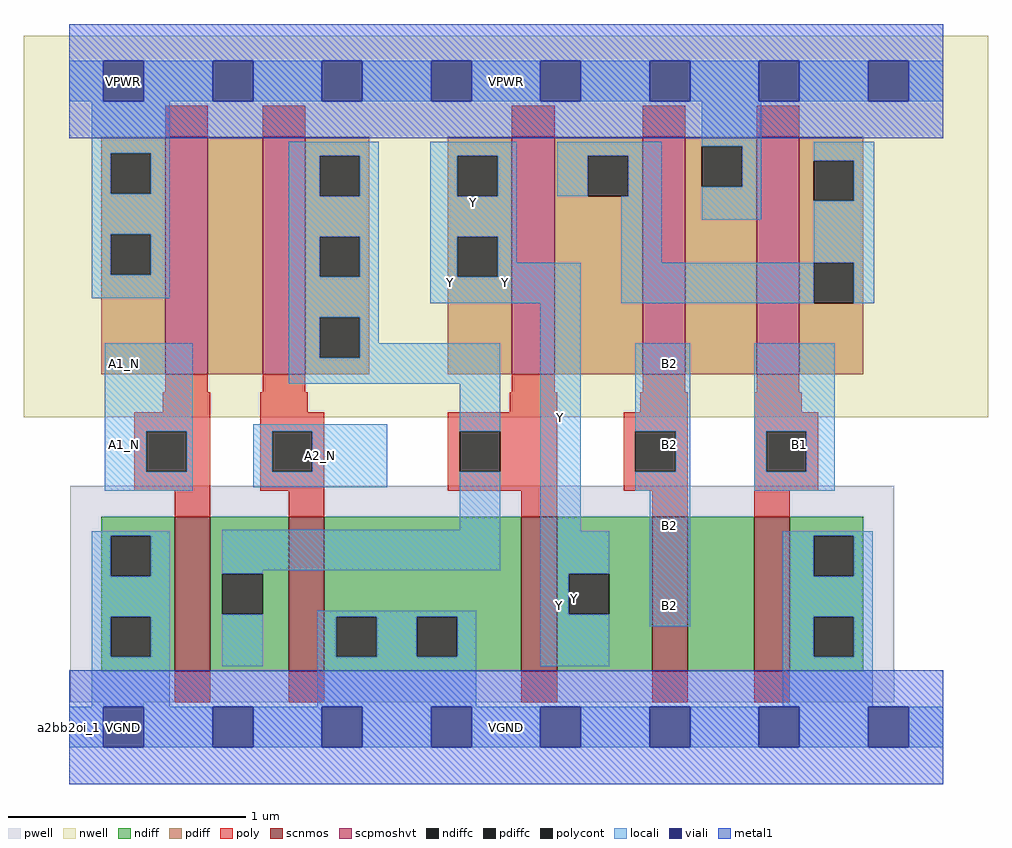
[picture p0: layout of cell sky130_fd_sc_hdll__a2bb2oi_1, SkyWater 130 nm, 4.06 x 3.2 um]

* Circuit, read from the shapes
.subckt sky130_fd_sc_hdll__a2bb2oi_1 A1_N A2_N B1 B2 VGND VNB VPB VPWR Y
XM1 n1 A1_N VGND VNB sky130_fd_pr__nfet_01v8 w=0.65 l=0.15
XM2 VGND A2_N n1 VNB sky130_fd_pr__nfet_01v8 w=0.65 l=0.15
XM3 Y n1 VGND VNB sky130_fd_pr__nfet_01v8 w=0.65 l=0.15
XM4 n2 B2 Y VNB sky130_fd_pr__nfet_01v8 w=0.65 l=0.15
XM5 VGND B1 n2 VNB sky130_fd_pr__nfet_01v8 w=0.65 l=0.15
XM6 n3 A1_N VPWR VPB sky130_fd_pr__pfet_01v8_hvt w=1 l=0.18
XM7 n1 A2_N n3 VPB sky130_fd_pr__pfet_01v8_hvt w=1 l=0.18
XM8 n4 n1 Y VPB sky130_fd_pr__pfet_01v8_hvt w=1 l=0.18
XM9 VPWR B2 n4 VPB sky130_fd_pr__pfet_01v8_hvt w=1 l=0.18
XM10 n4 B1 VPWR VPB sky130_fd_pr__pfet_01v8_hvt w=1 l=0.18
.ends

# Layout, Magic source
magic
tech sky130A
magscale 1 2
<< nwell >>
rect -38 261 774 582
<< pwell >>
rect 1 21 695 203
rect 29 -17 63 21
<< scnmos >>
rect 89 47 119 177
rect 185 47 215 177
rect 381 47 411 177
rect 491 47 521 177
rect 577 47 607 177
<< scpmoshvt >>
rect 81 297 117 497
rect 163 297 199 497
rect 373 297 409 497
rect 483 297 519 497
rect 579 297 615 497
<< ndiff >>
rect 27 161 89 177
rect 27 127 35 161
rect 69 127 89 161
rect 27 93 89 127
rect 27 59 35 93
rect 69 59 89 93
rect 27 47 89 59
rect 119 129 185 177
rect 119 95 129 129
rect 163 95 185 129
rect 119 47 185 95
rect 215 93 381 177
rect 215 59 225 93
rect 259 59 293 93
rect 327 59 381 93
rect 215 47 381 59
rect 411 129 491 177
rect 411 95 421 129
rect 455 95 491 129
rect 411 47 491 95
rect 521 47 577 177
rect 607 161 669 177
rect 607 127 627 161
rect 661 127 669 161
rect 607 93 669 127
rect 607 59 627 93
rect 661 59 669 93
rect 607 47 669 59
<< pdiff >>
rect 27 483 81 497
rect 27 449 35 483
rect 69 449 81 483
rect 27 415 81 449
rect 27 381 35 415
rect 69 381 81 415
rect 27 297 81 381
rect 117 297 163 497
rect 199 481 253 497
rect 199 447 211 481
rect 245 447 253 481
rect 199 413 253 447
rect 199 379 211 413
rect 245 379 253 413
rect 199 345 253 379
rect 199 311 211 345
rect 245 311 253 345
rect 199 297 253 311
rect 319 481 373 497
rect 319 447 327 481
rect 361 447 373 481
rect 319 413 373 447
rect 319 379 327 413
rect 361 379 373 413
rect 319 297 373 379
rect 409 481 483 497
rect 409 447 437 481
rect 471 447 483 481
rect 409 297 483 447
rect 519 489 579 497
rect 519 455 533 489
rect 567 455 579 489
rect 519 297 579 455
rect 615 477 669 497
rect 615 443 627 477
rect 661 443 669 477
rect 615 391 669 443
rect 615 357 627 391
rect 661 357 669 391
rect 615 297 669 357
<< ndiffc >>
rect 35 127 69 161
rect 35 59 69 93
rect 129 95 163 129
rect 225 59 259 93
rect 293 59 327 93
rect 421 95 455 129
rect 627 127 661 161
rect 627 59 661 93
<< pdiffc >>
rect 35 449 69 483
rect 35 381 69 415
rect 211 447 245 481
rect 211 379 245 413
rect 211 311 245 345
rect 327 447 361 481
rect 327 379 361 413
rect 437 447 471 481
rect 533 455 567 489
rect 627 443 661 477
rect 627 357 661 391
<< poly >>
rect 81 497 117 523
rect 163 497 199 523
rect 373 497 409 523
rect 483 497 519 523
rect 579 497 615 523
rect 81 282 117 297
rect 163 282 199 297
rect 373 282 409 297
rect 483 282 519 297
rect 579 282 615 297
rect 79 265 119 282
rect 55 249 119 265
rect 55 215 65 249
rect 99 215 119 249
rect 55 199 119 215
rect 161 265 201 282
rect 371 265 411 282
rect 481 265 521 282
rect 161 249 215 265
rect 161 215 171 249
rect 205 215 215 249
rect 161 199 215 215
rect 319 249 411 265
rect 319 215 329 249
rect 363 215 411 249
rect 319 199 411 215
rect 467 249 521 265
rect 467 215 477 249
rect 511 215 521 249
rect 467 199 521 215
rect 89 177 119 199
rect 185 177 215 199
rect 381 177 411 199
rect 491 177 521 199
rect 577 265 617 282
rect 577 249 631 265
rect 577 215 587 249
rect 621 215 631 249
rect 577 199 631 215
rect 577 177 607 199
rect 89 21 119 47
rect 185 21 215 47
rect 381 21 411 47
rect 491 21 521 47
rect 577 21 607 47
<< polycont >>
rect 65 215 99 249
rect 171 215 205 249
rect 329 215 363 249
rect 477 215 511 249
rect 587 215 621 249
<< locali >>
rect 0 527 29 561
rect 63 527 121 561
rect 155 527 213 561
rect 247 527 305 561
rect 339 527 397 561
rect 431 527 489 561
rect 523 527 581 561
rect 615 527 673 561
rect 707 527 736 561
rect 19 483 85 527
rect 19 449 35 483
rect 69 449 85 483
rect 19 415 85 449
rect 19 381 35 415
rect 69 381 85 415
rect 19 361 85 381
rect 185 481 261 493
rect 185 447 211 481
rect 245 447 261 481
rect 185 413 261 447
rect 185 379 211 413
rect 245 379 261 413
rect 185 345 261 379
rect 304 481 377 493
rect 304 447 327 481
rect 361 447 377 481
rect 411 481 499 493
rect 411 447 437 481
rect 471 447 499 481
rect 304 413 377 447
rect 304 379 327 413
rect 361 391 377 413
rect 465 391 499 447
rect 533 489 583 527
rect 567 455 583 489
rect 533 427 583 455
rect 627 477 678 493
rect 661 443 678 477
rect 627 391 678 443
rect 361 379 431 391
rect 304 357 431 379
rect 465 357 627 391
rect 661 357 678 391
rect 30 249 104 323
rect 185 311 211 345
rect 245 323 261 345
rect 245 311 363 323
rect 185 289 363 311
rect 30 215 65 249
rect 99 215 104 249
rect 30 199 104 215
rect 155 249 268 255
rect 155 215 171 249
rect 205 215 268 249
rect 155 202 268 215
rect 329 249 363 289
rect 329 166 363 215
rect 19 161 85 165
rect 19 127 35 161
rect 69 127 85 161
rect 19 93 85 127
rect 19 59 35 93
rect 69 59 85 93
rect 19 17 85 59
rect 129 132 363 166
rect 397 165 431 357
rect 477 249 523 323
rect 511 215 523 249
rect 477 199 523 215
rect 577 249 645 323
rect 577 215 587 249
rect 621 215 645 249
rect 577 199 645 215
rect 129 129 163 132
rect 397 129 455 165
rect 129 51 163 95
rect 209 93 343 98
rect 209 59 225 93
rect 259 59 293 93
rect 327 59 343 93
rect 209 17 343 59
rect 397 95 421 129
rect 397 51 455 95
rect 489 85 523 199
rect 601 161 677 165
rect 601 127 627 161
rect 661 127 677 161
rect 601 93 677 127
rect 601 59 627 93
rect 661 59 677 93
rect 601 17 677 59
rect 0 -17 29 17
rect 63 -17 121 17
rect 155 -17 213 17
rect 247 -17 305 17
rect 339 -17 397 17
rect 431 -17 489 17
rect 523 -17 581 17
rect 615 -17 673 17
rect 707 -17 736 17
<< viali >>
rect 29 527 63 561
rect 121 527 155 561
rect 213 527 247 561
rect 305 527 339 561
rect 397 527 431 561
rect 489 527 523 561
rect 581 527 615 561
rect 673 527 707 561
rect 29 -17 63 17
rect 121 -17 155 17
rect 213 -17 247 17
rect 305 -17 339 17
rect 397 -17 431 17
rect 489 -17 523 17
rect 581 -17 615 17
rect 673 -17 707 17
<< metal1 >>
rect 0 561 736 592
rect 0 527 29 561
rect 63 527 121 561
rect 155 527 213 561
rect 247 527 305 561
rect 339 527 397 561
rect 431 527 489 561
rect 523 527 581 561
rect 615 527 673 561
rect 707 527 736 561
rect 0 496 736 527
rect 0 17 736 48
rect 0 -17 29 17
rect 63 -17 121 17
rect 155 -17 213 17
rect 247 -17 305 17
rect 339 -17 397 17
rect 431 -17 489 17
rect 523 -17 581 17
rect 615 -17 673 17
rect 707 -17 736 17
rect 0 -48 736 -17
<< labels >>
flabel locali s 30 289 64 323 0 FreeSans 200 0 0 0 A1_N
port 1 nsew signal input
flabel locali s 30 221 64 255 0 FreeSans 200 0 0 0 A1_N
port 1 nsew signal input
flabel locali s 397 165 431 357 0 FreeSans 200 0 0 0 Y
port 9 nsew signal output
flabel locali s 321 374 321 374 0 FreeSans 200 0 0 0 Y
port 9 nsew
flabel locali s 413 102 413 102 0 FreeSans 200 0 0 0 Y
port 9 nsew
flabel locali s 29 -17 63 17 0 FreeSans 200 0 0 0 VGND
port 5 nsew ground bidirectional
flabel locali s 29 527 63 561 0 FreeSans 200 0 0 0 VPWR
port 8 nsew power bidirectional
flabel locali s 489 85 523 119 0 FreeSans 200 0 0 0 B2
port 4 nsew signal input
flabel locali s 489 153 523 187 0 FreeSans 200 0 0 0 B2
port 4 nsew signal input
flabel locali s 489 221 523 255 0 FreeSans 200 0 0 0 B2
port 4 nsew signal input
flabel locali s 489 289 523 323 0 FreeSans 200 0 0 0 B2
port 4 nsew signal input
flabel locali s 598 221 632 255 0 FreeSans 200 0 0 0 B1
port 3 nsew signal input
flabel locali s 155 202 268 255 0 FreeSans 200 0 0 0 A2_N
port 2 nsew signal input
flabel nwell s 29 527 63 561 0 FreeSans 200 0 0 0 VPB
port 7 nsew power bidirectional
flabel pwell s 29 -17 63 17 0 FreeSans 200 0 0 0 VNB
port 6 nsew ground bidirectional
flabel metal1 s 29 -17 63 17 0 FreeSans 200 0 0 0 VGND
port 5 nsew ground bidirectional
flabel metal1 s 29 527 63 561 0 FreeSans 200 0 0 0 VPWR
port 8 nsew power bidirectional
rlabel comment s 0 0 0 0 4 a2bb2oi_1
rlabel locali s 397 51 455 165 1 Y
port 9 nsew signal output
rlabel locali s 304 391 377 493 1 Y
port 9 nsew signal output
rlabel locali s 304 357 431 391 1 Y
port 9 nsew signal output
rlabel metal1 s 0 -48 736 48 1 VGND
port 5 nsew ground bidirectional
rlabel metal1 s 0 496 736 592 1 VPWR
port 8 nsew power bidirectional
<< properties >>
string LEFsite unithd
string LEFclass CORE
string FIXED_BBOX 0 0 736 544
string GDS_FILE $PDKPATH/libs.ref/sky130_fd_sc_hdll/gds/sky130_fd_sc_hdll.gds
string LEFsymmetry X Y R90
string GDS_END 1728270
string GDS_START 1721150
string LEFproperties maskLayoutSubType "abstract" prCellType "standard" originalViewName "layout"
<< end >>
